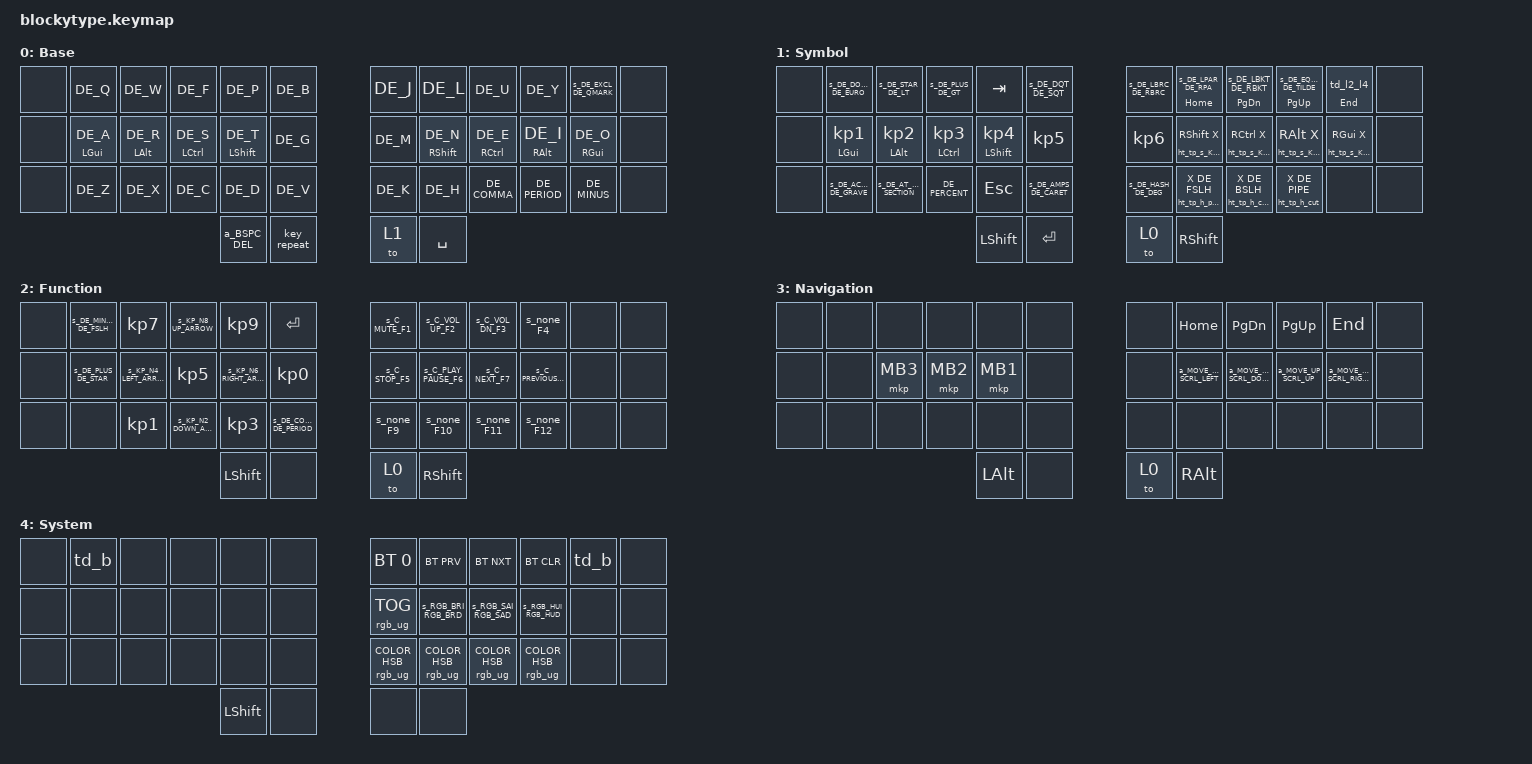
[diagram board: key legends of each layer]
#include <behaviors.dtsi>
#include <dt-bindings/zmk/bt.h>
#include <dt-bindings/zmk/keys.h>
#include <dt-bindings/zmk/mouse.h>
#include <dt-bindings/zmk/rgb.h>
#include <dt-bindings/zmk/pointing.h>
#include <locale/keys_de.h>
#include "zmk-helpers/helper.h"

#define ZMK_POINTING_DEFAULT_MOVE_VAL 1500  // default: 600
#define ZMK_POINTING_DEFAULT_SCRL_VAL 20    // default: 10

&key_repeat {
    usage-pages = <HID_USAGE_KEY HID_USAGE_CONSUMER>;
};

/ {
    // |00|01|02|03|04|05|         |06|07|08|09|10|11|
    // |12|13|14|15|16|17|         |18|19|20|21|22|23|
    // |24|25|26|27|28|29|         |30|31|32|33|34|35|
    //                |36|37|   |38|39|

    combos {
        compatible = "zmk,combos";
        combo_layer_switch {
            timeout-ms = <50>;
            bindings = <&to 3>;
            key-positions = <37 38>;
            layers = <0 1>;
        };
        combo_back_to_default {
            timeout-ms = <50>;
            bindings = <&to 0>;
            key-positions = <36 39>;
            layers = <0 1 2 3 4>;
        };
        combo_DE_A_UMLAUT {
            timeout-ms = <50>;
            bindings = <&kp DE_A_UMLAUT>;
            key-positions = <13 20>;    // a + e
            layers = <0>;
        };
        combo_DE_O_UMLAUT {
            timeout-ms = <50>;
            bindings = <&kp DE_O_UMLAUT>;
            key-positions = <22 20>;    // o + e
            layers = <0>;
        };
        combo_DE_U_UMLAUT {
            timeout-ms = <50>;
            bindings = <&kp DE_U_UMLAUT>;
            key-positions = <8 20>;    // u + e
            layers = <0>;
        };
        combo_DE_SHARP_S {
            timeout-ms = <50>;
            bindings = <&kp DE_SHARP_S>;
            key-positions = <15 20>;    // s + e
            layers = <0>;
        };
        combo_DE_SUPER2 {
            timeout-ms = <50>;
            bindings = <&kp DE_SUPER2>;
            key-positions = <14 29>;    // %(^) + 2
            layers = <1>;
        };
         combo_DE_SUPER3 {
            timeout-ms = <50>;
            bindings = <&kp DE_SUPER3>;
            key-positions = <15 29>;    // %(^) + 3
            layers = <1>;
        };
    };


    behaviors {
        #include "behaviors/alt_modifiers.keymap"
        #include "behaviors/shift_modifiers.keymap"
        #include "behaviors/hold_tap.keymap"
        #include "behaviors/altgr_modifiers.keymap"
        ht_tp: hold_tap_tap_preferred {
                compatible = "zmk,behavior-hold-tap";
                #binding-cells = <2>;
                tapping-term-ms = <200>;
                quick-tap-ms = <0>;
                flavor = "tap-preferred";
                bindings = <&kp>, <&kp>;
        };
        ht_tp_l: hold_tap_tap_preferred_long {
                compatible = "zmk,behavior-hold-tap";
                #binding-cells = <2>;
                tapping-term-ms = <400>;
                quick-tap-ms = <0>;
                flavor = "tap-preferred";
                bindings = <&kp>, <&kp>;
        };
        td_b: tap_dance_bootloader {
            compatible = "zmk,behavior-tap-dance";
            #binding-cells = <0>;
            tapping-term-ms = <200>;
            bindings = <&none>, <&bootloader>;
        };
        td_l2_l4: tap_dance_layer_2_layer_4 {
            compatible = "zmk,behavior-tap-dance";
            #binding-cells = <0>;
            tapping-term-ms = <200>;
            bindings = <&to 2>, <&to 4>;
        };
    };

    macros {
        copy: copy {
            compatible = "zmk,behavior-macro";
            #binding-cells = <0>;
            bindings
                = <&macro_press &kp LCTRL>
                , <&macro_tap &kp C>
                , <&macro_release &kp LCTRL>
                ;
        };
        cut: cut {
            compatible = "zmk,behavior-macro";
            #binding-cells = <0>;
            bindings
                = <&macro_press &kp LCTRL>
                , <&macro_tap &kp X>
                , <&macro_release &kp LCTRL>
                ;
        };
        paste: paste {
            compatible = "zmk,behavior-macro";
            #binding-cells = <0>;
            bindings
                = <&macro_press &kp LCTRL>
                , <&macro_tap &kp V>
                , <&macro_release &kp LCTRL>
                ;
        };
    };

    keymap {
        compatible = "zmk,keymap";
        //Layer 0
        default_layer { 
            display-name = "Base";
            bindings = <
                &none  &kp DE_Q                          &kp DE_W          &kp DE_F                          &kp DE_P            &kp DE_B                            &kp DE_J  &kp DE_L            &kp DE_U  &kp DE_Y          &s_DE_EXCL_DE_QMARK               &none
                    
                &none  &ht_tp LGUI DE_A  &ht_tp LALT DE_R  &ht_tp LCTRL DE_S  &ht_tp LSHIFT DE_T  &kp DE_G                            &kp DE_M  &ht_tp RSHIFT DE_N  &ht_tp RCTRL DE_E    &ht_tp RALT DE_I  &ht_tp RGUI DE_O  &none
                    
                &none  &kp DE_Z                          &kp DE_X          &kp DE_C                          &kp DE_D            &kp DE_V                            &kp DE_K  &kp DE_H            &kp DE_COMMA         &kp DE_PERIOD     &kp DE_MINUS                      &none
                
                                                                                                                                 &a_BSPC_DEL  &key_repeat     &to 1  &kp SPACE 
            >;
        };
        //Layer 1
        symbol_layer { 
            display-name = "Symbol";
            bindings = <
            &none  &s_DE_DOLLAR_DE_EURO  &s_DE_STAR_DE_LT                 &s_DE_PLUS_DE_GT                  &kp TAB              &s_DE_DQT_DE_SQT                          &s_DE_LBRC_DE_RBRC  &ht_tp HOME s_DE_LPAR_DE_RPA           &ht_tp PAGE_DOWN s_DE_LBKT_DE_RBKT     &ht_tp PAGE_UP s_DE_EQUAL_DE_TILDE  &ht_tp END td_l2_l4     &none
                    
                &none  &ht_tp_l LGUI KP_N1     &ht_tp LALT KP_N2  &ht_tp LCTRL KP_N3  &ht_tp LSHIFT KP_N4  &kp KP_N5                                 &kp KP_N6           &ht_tp_s_KP_N7_LEFT_ARROW RSHIFT X  &ht_tp_s_KP_N8_DOWN_ARROW RCTRL X  &ht_tp_s_KP_N9_UP_ARROW RALT X  &ht_tp_s_KP_N0_RIGHT_ARROW RGUI X  &none
                    
                &none  &s_DE_ACUTE_DE_GRAVE  &s_DE_AT_DE_SECTION              &kp DE_PERCENT                    &kp ESC              &s_DE_AMPS_DE_CARET                       &s_DE_HASH_DE_DEG   &ht_tp_h_paste X DE_FSLH             &ht_tp_h_copy X DE_BSLH               &ht_tp_h_cut X DE_PIPE           &none                              &none
                
                                                                                                                                     &kp LSHIFT           &kp ENTER     &to 0  &kp RSHIFT 
            >;
        };
        //Layer 2
        function_layer {
            display-name = "Function";
            bindings = <
                &none  &s_DE_MINUS_DE_FSLH  &kp KP_N7            &s_KP_N8_UP_ARROW    &kp KP_N9             &kp ENTER                               &s_C_MUTE_F1  &s_C_VOL_UP_F2  &s_C_VOL_DN_F3  &s_none_F4 
                  &none  &none
                
                &none  &s_DE_PLUS_DE_STAR   &s_KP_N4_LEFT_ARROW  &kp KP_N5            &s_KP_N6_RIGHT_ARROW  &kp KP_N0                               &s_C_STOP_F5  &s_C_PLAY_PAUSE_F6  &s_C_NEXT_F7  &s_C_PREVIOUS_F8  &none    &none
                
                &none  &none                &kp KP_N1            &s_KP_N2_DOWN_ARROW  &kp KP_N3             &s_DE_COMMA_DE_PERIOD                   &s_none_F9  &s_none_F10     &s_none_F11          &s_none_F12        &none    &none
                
                                                                                                            &kp LSHIFT             &none     &to 0  &kp RSHIFT 
            >;
        };
        //Layer 3
        navigation_layer {
            display-name = "Navigation";
            bindings = <
                &none  &none  &none     &none     &none     &none                   &none  &kp HOME  &kp PAGE_DOWN  &kp PAGE_UP  &kp END  &none
                
                &none  &none  &mkp MB3  &mkp MB2  &mkp MB1  &none                   &none  &a_MOVE_LEFT_SCRL_LEFT  &a_MOVE_DOWN_SCRL_DOWN  &a_MOVE_UP_SCRL_UP  &a_MOVE_RIGHT_SCRL_RIGHT  &none
                
                &none  &none  &none     &none     &none     &none                   &none  &none     &none          &none        &none    &none
                
                                                            &kp LALT  &none     &to 0  &kp RALT 
            >;
        };
        //Layer 4
        system_layer {
            display-name = "System";
            bindings = <
                &none  &td_b   &none  &none  &none  &none                  &bt BT_SEL 0     &bt BT_PRV        &bt BT_NXT       &bt BT_CLR  &td_b   &none
                
                &none  &none  &none  &none  &none  &none                  &rgb_ug RGB_TOG  &s_RGB_BRI_RGB_BRD  &s_RGB_SAI_RGB_SAD  &s_RGB_HUI_RGB_HUD       &none  &none
                           
                &none  &none  &none  &none  &none  &none                  &rgb_ug RGB_COLOR_HSB(0,0,100)  &rgb_ug RGB_COLOR_HSB(240,100,100)  &rgb_ug RGB_COLOR_HSB(0,100,100)  &rgb_ug RGB_COLOR_HSB(30,100,100)  &none  &none
                
                                                         &kp LSHIFT  &none    &none  &none 
            >;
        };

    };
};
